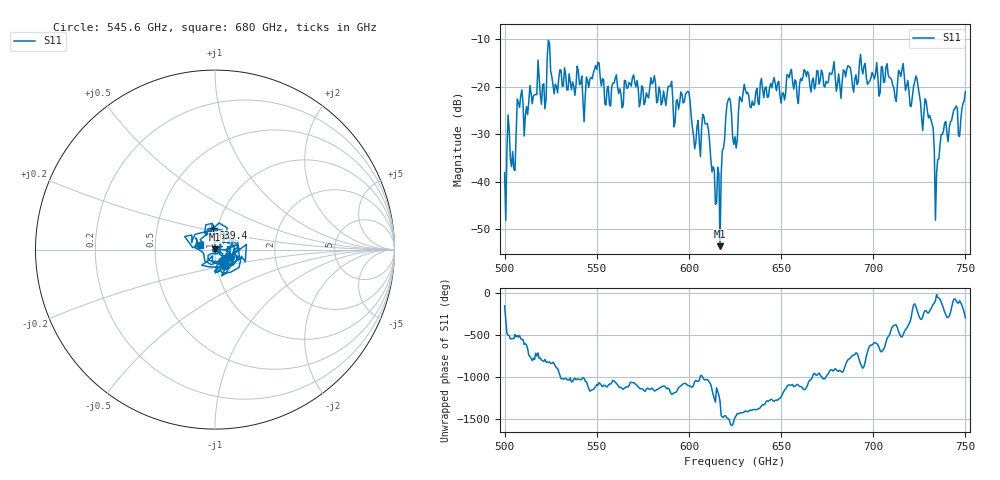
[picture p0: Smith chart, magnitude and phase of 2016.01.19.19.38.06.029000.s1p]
!Created with skrf (http://scikit-rf.org).
# GHz S RI R 50.0
!freq ReS11 ImS11
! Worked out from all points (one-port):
!   401 points, 500 GHz to 750 GHz, reference 50 ohm
!   lowest |S11| = -53.6 dB at 616.9 GHz (marker M1), VSWR 1.00, Z = 49.8 + j0.109 ohm
!   |S11| at or under -10 dB: start of sweep to end of sweep
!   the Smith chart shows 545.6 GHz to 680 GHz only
!   S11 on the Smith chart (normalised r, x): 545.6 GHz: 1.09, -0.19; 639.4 GHz: 0.95, +0.24; 680 GHz: 0.84, +0.04
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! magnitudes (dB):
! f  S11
! 500 GHz  -38.1
! 502.5 GHz  -29.0
! 505 GHz  -37.4
! 508.1 GHz  -24.4
! 521.2 GHz  -19.4
! 524.4 GHz  -10.8
! 527.5 GHz  -19.5
! 531.2 GHz  -19.9
! 545.6 GHz  -20.1
! 562.5 GHz  -20.5
! 580.6 GHz  -19.0
! 593.8 GHz  -22.7
! 603.1 GHz  -33.1
! 608.8 GHz  -27.8
! 615.6 GHz  -37.0
! 616.9 GHz  -53.6
! 621.2 GHz  -22.8
! 625 GHz  -30.5
! 628.8 GHz  -23.1
! 639.4 GHz  -18.3
! 656.2 GHz  -19.0
! 680 GHz  -21.0
! 687.5 GHz  -15.9
! 718.8 GHz  -18.7
! 729.4 GHz  -25.2
! 734.4 GHz  -38.1
! 738.1 GHz  -29.3
! 750 GHz  -21.0
